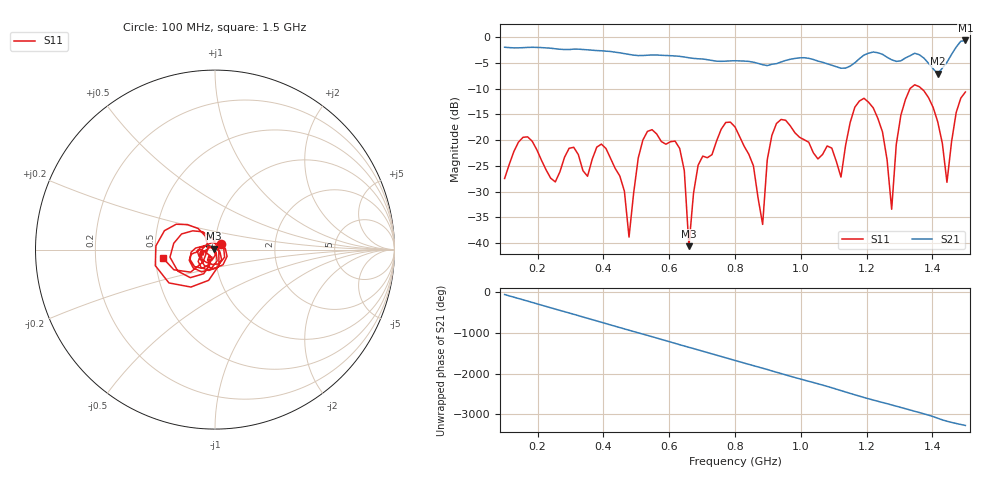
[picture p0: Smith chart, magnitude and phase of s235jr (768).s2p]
! NanoVNA-App
! Date: 2025-09-25 15:10:09
! Start: 100MHz Stop: 1,5GHz Points: 101
! S-Parameter data: F S11 S21 S12 S22
# Hz S RI R 50
!  Frequency  S11_Real  S11_Imag  S21_Real  S21_Imag  S12_Real  S12_Imag  S22_Real  S22_Imag
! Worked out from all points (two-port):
!   101 points, 100 MHz to 1.5 GHz, reference 50 ohm
!   highest |S21| = -0.65 dB at 1.5 GHz (marker M1); lowest = -7.1 dB at 1.416 GHz (marker M2)
!   |S21| within 3 dB of the highest: start of sweep to 614.2 MHz; 1.189 GHz to 1.256 GHz (66.85 MHz wide, 5.47 % of centre) (the widest 2 of 4)
!   lowest |S11| = -40.6 dB at 660 MHz (marker M3), VSWR 1.02, Z = 49.2 + j0.535 ohm
!   |S11| at or under -10 dB: start of sweep to 1.332 GHz; 1.366 GHz to end of sweep
!   S12 and S22 are empty: the file has one direction only
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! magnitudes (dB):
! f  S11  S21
! 100 MHz  -27.5  -2.0
! 170 MHz  -19.4  -2.0
! 338 MHz  -25.9  -2.4
! 408 MHz  -21.6  -2.7
! 478 MHz  -38.9  -3.4
! 520 MHz  -20.0  -3.6
! 576 MHz  -20.3  -3.5
! 632 MHz  -21.6  -3.7
! 660 MHz  -40.6  -4.0
! 688 MHz  -24.9  -4.2
! 800 MHz  -17.5  -4.6
! 884 MHz  -36.4  -5.4
! 926 MHz  -16.8  -5.2
! 1.038 GHz  -22.5  -4.3
! 1.122 GHz  -27.2  -6.0
! 1.192 GHz  -11.9  -3.5
! 1.248 GHz  -18.4  -3.3
! 1.276 GHz  -33.4  -4.4
! 1.332 GHz  -10.0  -3.6
! 1.416 GHz  -16.5  -7.1
! 1.444 GHz  -28.2  -4.9
! 1.5 GHz  -10.7  -0.6
